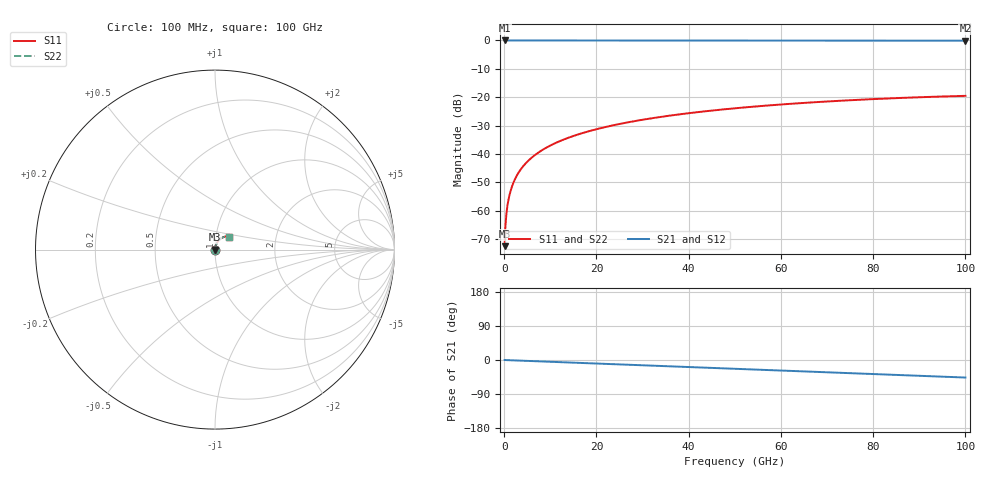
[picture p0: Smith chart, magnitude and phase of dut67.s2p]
! Touchstone file exported from HFSS 2026.1.0
!  File:  C:/ffzhzh/LocalFiles/Ansys_Project_Files/temp_train_TSV_67_1783505211_41296.aedt
!  Generated:  06:08:08 PM Jul  8, 2026
!  Design:  TSV
!  Project:  temp_train_TSV_67_1783505211_41296
! Variables:
!  h_bsmrdl = 2um
!  h_ox = 20um
!  h_rdl = 5um
!  h_sub = 92.35um
!  h_tmrdl = 5um
!  h_tsv = 92.35um
!  h_via = 3um
!  l_bsmrdl = 300um
!  l_sub = 419.14um
!  l_tmrdl = 200um
!  m_sub = 200um
!  pitch = 47.52um
!  r_tsv = 9.57um
!  s_tmrdl = 10um
!  w_bsmrdl = 18um
!  w_sub = 500um
!  w_tmrdl = 12um
!  x_tsv_center1 = 206um
!  x_tsv_center2 = 524um
!  x_tsv_center3 = 736um
!  x_tsv_center4 = 1054um
!  x_tsv_center5 = 1266um
!  x_tsv_center6 = 1584um
# GHz S MA R 50.000000
! Terminal data exported
! Port[1] = TSV1_1_T1
! Port[2] = TSV1_1_T2
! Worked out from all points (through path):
!   1000 points, 100 MHz to 100 GHz, reference 50 ohm
!   highest |S21| = 0.00 dB at 100 MHz (marker M1); lowest = -0.1 dB at 100 GHz (marker M2)
!   group delay of S21, straight-line fit = 1.28 ps
!   lowest |S11| = -72.5 dB at 100 MHz (marker M3), VSWR 1.00, Z = 50 + j0.0184 ohm
!   |S11| at or under -10 dB: start of sweep to end of sweep
!   |S22| runs from -72.5 to -19.5 dB; largest |S21 - S12| = 1.1e-14
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0.1  0.0002377 50.7  0.9998 -0.0  0.9998 -0.0  0.0002377 50.7
! Gamma 0 0 0 0
! Port Impedance 50 0 50 0
0.4  0.0007361 73.6  0.9998 -0.2  0.9998 -0.2  0.0007361 73.6
0.7  0.00121 76.6  0.9997 -0.3  0.9997 -0.3  0.00121 76.6
0.8  0.001361 77.2  0.9997 -0.4  0.9997 -0.4  0.001361 77.2
1  0.001658 78.1  0.9997 -0.5  0.9997 -0.5  0.001658 78.1
1.3  0.002097 79.2  0.9996 -0.6  0.9996 -0.6  0.002097 79.2
1.8  0.00282 80.3  0.9996 -0.9  0.9996 -0.9  0.00282 80.3
2.3  0.003534 80.9  0.9995 -1.1  0.9995 -1.1  0.003534 80.9
3  0.004521 81.4  0.9994 -1.4  0.9994 -1.4  0.004521 81.4
3.8  0.005635 81.7  0.9993 -1.8  0.9993 -1.8  0.005635 81.7
4.8  0.007014 81.9  0.9993 -2.3  0.9993 -2.3  0.007014 81.9
6  0.008657 81.9  0.9992 -2.8  0.9992 -2.8  0.008657 81.9
8.8  0.01246 81.4  0.999 -4.1  0.999 -4.1  0.01246 81.4
12.4  0.01729 80.3  0.9987 -5.8  0.9987 -5.8  0.01729 80.3
16.8  0.02312 78.8  0.9984 -7.8  0.9984 -7.8  0.02312 78.8
24.2  0.03273 75.9  0.9978 -11.3  0.9978 -11.3  0.03273 75.9
33.4  0.04432 72.0  0.9971 -15.5  0.9971 -15.5  0.04432 72.0
41.2  0.05373 68.7  0.9964 -19.1  0.9964 -19.1  0.05373 68.6
50.1  0.06391 64.7  0.9956 -23.3  0.9956 -23.3  0.06392 64.7
66.7  0.08104 57.3  0.994 -30.9  0.994 -30.9  0.08104 57.3
83.4  0.09526 49.8  0.9924 -38.6  0.9924 -38.6  0.09527 49.8
100  0.1057 42.3  0.991 -46.3  0.991 -46.3  0.1057 42.3
